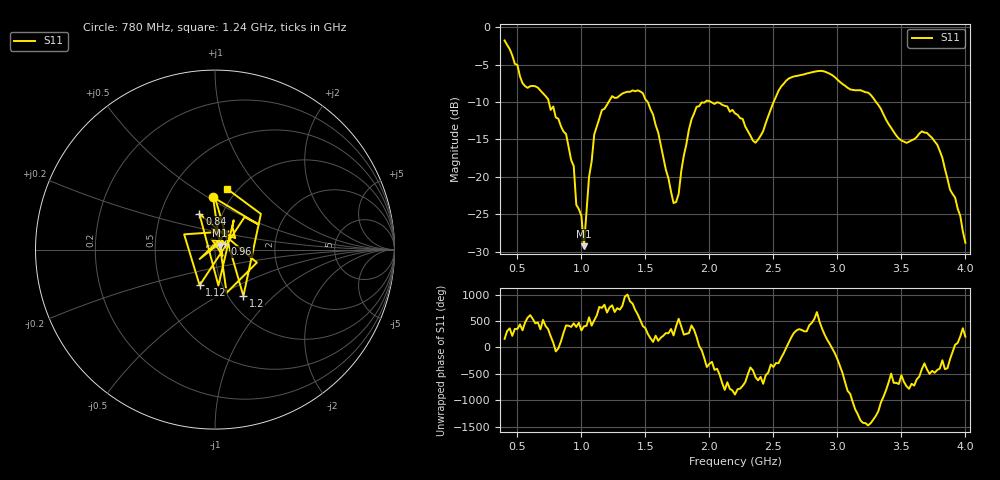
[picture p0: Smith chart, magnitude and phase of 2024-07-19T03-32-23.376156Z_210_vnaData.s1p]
!Created with skrf (http://scikit-rf.org).
# Hz S RI R 50.0
!freq ReS11 ImS11
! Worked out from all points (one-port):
!   181 points, 400 MHz to 4 GHz, reference 50 ohm
!   lowest |S11| = -29.2 dB at 1.02 GHz (marker M1), VSWR 1.07, Z = 52.6 + j2.4 ohm
!   |S11| at or under -10 dB: 745.3 MHz to 1.213 GHz (467.6 MHz wide, 47.8 % of centre); 2.013 GHz to 2.502 GHz (488.5 MHz wide, 21.6 % of centre); 3.302 GHz to end of sweep (the widest 3 of 4)
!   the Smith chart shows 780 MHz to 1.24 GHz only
!   S11 on the Smith chart (normalised r, x): 780 MHz: 0.82, +0.53; 840 MHz: 0.78, +0.33; 960 MHz: 1.12, +0.07; 1.12 GHz: 0.78, -0.33; 1.2 GHz: 1.17, -0.67; 1.24 GHz: 0.89, +0.69
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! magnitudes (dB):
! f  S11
! 400 MHz  -1.8
! 540 MHz  -7.5
! 780 MHz  -10.6
! 840 MHz  -13.2
! 860 MHz  -13.9
! 940 MHz  -18.6
! 960 MHz  -23.7
! 1 GHz  -25.2
! 1.02 GHz  -29.2
! 1.06 GHz  -20.0
! 1.12 GHz  -13.3
! 1.2 GHz  -10.4
! 1.24 GHz  -9.2
! 1.3 GHz  -9.1
! 1.48 GHz  -8.8
! 1.6 GHz  -14.1
! 1.72 GHz  -23.5
! 1.76 GHz  -22.3
! 1.84 GHz  -13.7
! 1.9 GHz  -10.6
! 2.2 GHz  -11.5
! 2.36 GHz  -15.4
! 2.66 GHz  -6.6
! 3.1 GHz  -8.3
! 3.26 GHz  -9.0
! 3.56 GHz  -15.3
! 3.78 GHz  -15.7
! 4 GHz  -28.8
